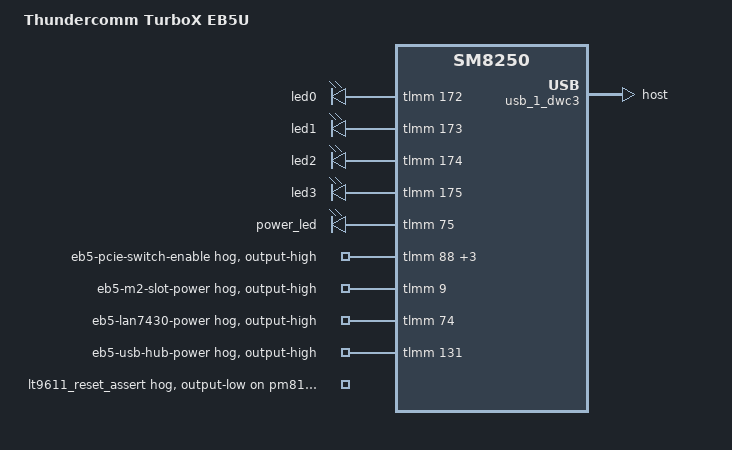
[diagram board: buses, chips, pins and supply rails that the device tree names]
// SPDX-License-Identifier: BSD-3-Clause
/*
 * Thundercomm TurboX EB5U (QRB5165 / SM8250)
 *
 * 基于主线 qrb5165-rb5.dts，叠加 EB5 板级差异。
 * EB5 与 RB5 共用同一份 msm-id/board-id，SoC 侧完全兼容；
 * 差异集中在若干块载板外设的使能脚上——厂商 4.19 由闭源驱动驱动为高，
 * 主线无对应代码，故用 gpio-hog 复刻。
 */

#include "qrb5165-rb5.dts"

/ {
	model = "Thundercomm TurboX EB5U";
	compatible = "thundercomm,eb5u", "qcom,qrb5165-rb5", "qcom,sm8250";
};

/*
 * RB5 上 i2c4 是扩展排针 LS-I2C0（无板载设备）；
 * EB5 把 GPIO8/9 改作板级控制脚，其中 GPIO9 是 M.2 槽供电使能。
 */
&i2c4 {
	status = "disabled";
};

&tlmm {
	/*
	 * PCIe RC2 + 板载 ASMedia ASM2806 交换机使能。
	 * 88/89 紧邻 PCIe2 的 perst/clkreq/wake(85/86/87)。
	 * 不拉高则 RC2 链路训练失败，交换机不枚举。
	 */
	eb5_pcie_switch_hog {
		gpio-hog;
		gpios = <88  GPIO_ACTIVE_HIGH>,
			<89  GPIO_ACTIVE_HIGH>,
			<126 GPIO_ACTIVE_HIGH>,
			<130 GPIO_ACTIVE_HIGH>;
		output-high;
		line-name = "eb5-pcie-switch-enable";
	};

	/*
	 * ASM2806 下游端点供电。缺失时下游端口 SltSta.PresDet=0、
	 * LnkSta.DLActive=0（端点电气不在位），三块网卡均无法枚举。
	 * 实测：GPIO9  -> 下游端口 02:00.0（M.2 槽，RTL8126）
	 *       GPIO74 -> 下游端口 02:06.0 与 02:0e.0（两颗 LAN7430）
	 */
	eb5_m2_slot_power_hog {
		gpio-hog;
		gpios = <9 GPIO_ACTIVE_HIGH>;
		output-high;
		line-name = "eb5-m2-slot-power";
	};

	eb5_lan7430_power_hog {
		gpio-hog;
		gpios = <74 GPIO_ACTIVE_HIGH>;
		output-high;
		line-name = "eb5-lan7430-power";
	};

	/* USB Hub 供电（厂商 4.19 亦未拉高，主线修复后 Hub 可用） */
	eb5_usb_hub_power_hog {
		gpio-hog;
		gpios = <131 GPIO_ACTIVE_HIGH>;
		output-high;
		line-name = "eb5-usb-hub-power";
	};
};

/*
 * 主线 sm8250.dtsi 只为 pcie2 映射了 RID 0x000/0x100（RC 与直连端点两条）。
 * EB5 在 RC2 上挂了 ASM2806 交换机，交换机下游端口与三块网卡的 RID
 * 全部落在映射之外，DMA 会被 apps_smmu 拦下：
 *   arm-smmu 15000000.iommu: Unhandled context fault: fsr=0x402 ... SID=0x1d00
 * 表现为网卡能 link up 但收发不通（NETDEV WATCHDOG transmit timed out）。
 * 按厂商 4.19 设备树补全全部 9 条映射。
 */
&pcie2 {
	iommu-map = <0x000 &apps_smmu 0x1d00 0x1>,	/* 0002:00:00.0 根端口     */
		    <0x100 &apps_smmu 0x1d01 0x1>,	/* 0002:01:00.0 交换机上游 */
		    <0x200 &apps_smmu 0x1d02 0x1>,	/* 0002:02:00.0 下游端口   */
		    <0x230 &apps_smmu 0x1d03 0x1>,	/* 0002:02:06.0 下游端口   */
		    <0x270 &apps_smmu 0x1d04 0x1>,	/* 0002:02:0e.0 下游端口   */
		    <0x300 &apps_smmu 0x1d05 0x1>,	/* 0002:03:00.0 RTL8126    */
		    <0x400 &apps_smmu 0x1d06 0x1>,	/* 0002:04:00.0 LAN7430    */
		    <0x500 &apps_smmu 0x1d07 0x1>,	/* 0002:05:00.0 LAN7430    */
		    <0x600 &apps_smmu 0x1d08 0x1>;
};

/*
 * EB5 载板 LED。
 *
 * 主线 qrb5165-rb5.dts 里的 LED 定义在 EB5 上全部是空的（实测无对应实体灯）：
 *   - 根节点 `leds`（gpio-leds，挂 pm8150 PMIC GPIO 7/9/10）
 *     → green:user4 / yellow:wlan / blue:bt
 *   - `&pm8150l_lpg`（PMIC 的 PWM 调光控制器）
 *     → green:heartbeat-3 / green:indicator-1 / green:indicator-2
 * 这些是 RB5 开发板特有的，EB5 载板没有引出，一并删掉避免误导。
 *
 * EB5 真正的五颗灯接在 TLMM 上，主线完全没有定义，
 * 导致 /sys/class/leds/led{0..3} 不存在。
 * 厂商 4.19 设备树对应节点：/soc/leds（compatible = "gpio-leds"）
 *   led0 = tlmm 172   led1 = tlmm 173   led2 = tlmm 174   led3 = tlmm 175
 *   power_led = tlmm 75, default-state = "on"
 * 保留厂商的 label 命名，使既有的
 * /opt/max_performance.sh（echo timer > /sys/class/leds/led1/trigger）
 * 无需修改即可继续工作。
 *
 * 注：/sys/class/leds/mmc0:: 不是设备树来的，是 sdhci 驱动为 SD 控制器
 * 自动注册的活动指示灯，要去掉只能停用整个 &sdhc_2（会失去 SD 卡功能），
 * 这里保留。
 */

/* 删除 RB5 继承来的 gpio-leds（三颗都无实体） */
/ {
	/delete-node/ leds;
};

/* 停用 PMIC LPG——RB5 用它驱动三颗指示灯，EB5 没引出，且无其它 PWM 消费者 */
&pm8150l_lpg {
	status = "disabled";
};

/ {
	eb5_leds: leds-eb5 {
		compatible = "gpio-leds";

		led-0 {
			label = "led0";
			gpios = <&tlmm 172 GPIO_ACTIVE_HIGH>;
			default-state = "off";
		};

		led-1 {
			label = "led1";
			gpios = <&tlmm 173 GPIO_ACTIVE_HIGH>;
			default-state = "off";
		};

		led-2 {
			label = "led2";
			gpios = <&tlmm 174 GPIO_ACTIVE_HIGH>;
			default-state = "off";
		};

		led-3 {
			label = "led3";
			gpios = <&tlmm 175 GPIO_ACTIVE_HIGH>;
			default-state = "off";
		};

		led-power {
			label = "power_led";
			gpios = <&tlmm 75 GPIO_ACTIVE_HIGH>;
			default-state = "on";
		};
	};
};

/*
 * USB0（usb_1 / a600000）改为主机模式。
 *
 * 主线 qrb5165-rb5.dts 把 USB0 配成 `dr_mode = "otg"` + `usb-role-switch`，
 * 因为 RB5 上它是 Type-C 口，靠 PMIC 的 Type-C 控制器协商主/从角色。
 * EB5 上这一路不是 Type-C，而是**硬接了一颗 TI TUSB8044A 4 口 USB Hub**，
 * 没有任何角色协商信号源，于是 role 永远停在未定态：
 *   - dwc3 不会实例化 xhci 子设备（/sys/.../a600000.usb 下只有 usb_role）
 *   - /sys/class/usb_role/a600000.usb-role-switch/role 只读且为空
 *   - Hub 虽有 VBUS（gpio131 已拉高，插 U 盘会发热）但主机侧根本没枚举
 * 厂商 4.19 的设备树是 `dr_mode = "drd"`，同样依赖协商，
 * 所以**原厂系统里这个 Hub 也一直不工作**。
 *
 * 固定成 host 即可让 dwc3 直接进主机模式并创建 xhci。
 */
&usb_1_dwc3 {
	dr_mode = "host";
	/delete-property/ usb-role-switch;
};

/*
 * LT9611UXC（DSI → HDMI 桥）整条链路关闭。
 *
 * EB5 是没有显示输出的边缘盒子，RB5 继承来的这颗桥片派不上用场。
 * 生产内核（6.18.40）直接关掉了 DRM_MSM，所以从来没碰过它；
 * 而 Armbian 的 sm8250 配置里 DRM_MSM/DRM_MSM_DSI 都是 =y，
 * 不处理的话 DSI0 会去驱动这颗桥，白白把显示链路拉起来。
 *
 * ⚠️ 删除顺序有讲究：必须先摘掉外部对 lt9611 各 label 的引用，再删节点本身，
 * 否则 DTC 解析 phandle 时会因为找不到目标而编译失败。
 * RB5 里一共有五处引用：vdd-supply / vcc-supply（节点内部，随节点一起消失）、
 * mdss_dsi0_out 的 remote-endpoint、sound 的 hdmi-dai-link，
 * 以及 hdmi-out 连接器节点里指向 lt9611_out 的 endpoint。
 */

/* 1) DSI0 输出端点，原本指向 &lt9611_a */
&mdss_dsi0_out {
	/delete-property/ remote-endpoint;
};

/* 2) HDMI 音频 dai-link，原本引用 <&lt9611_codec 0> */
&sound {
	/delete-node/ hdmi-dai-link;
};

/* 3) 桥本身。RB5 的 i2c5 上只挂了这一个设备，总线一并停掉 */
&i2c5 {
	status = "disabled";
	/delete-node/ hdmi-bridge@2b;
};

/* 4) DSI0 已经没有接收端，停掉控制器和 PHY，免得 DRM 反复 EPROBE_DEFER */
&mdss_dsi0 {
	status = "disabled";
};

&mdss_dsi0_phy {
	status = "disabled";
};

/*
 * 5) 两路专供 LT9611 的稳压器。
 *
 * 注意它们是 regulator-fixed 且没有 gpio 属性 —— 也就是说板级供电是硬连到
 * vdc_3v3 上的，设备树里没有任何手段真正切断这两路电。删除节点的实际作用是
 * 解除内核侧的引用，尤其是撤掉 LT9611_3V3 上的 regulator-always-on/boot-on
 * （否则 regulator 框架开机就会把这个虚拟稳压器置成 enabled 并一直保持）。
 */
/ {
	/* hdmi-connector：它的 endpoint 指向 lt9611 的 port@2 (&lt9611_out)，
	   桥都没了，这个连接器自然也留不得 */
	/delete-node/ hdmi-out;

	/delete-node/ lt9611-vdd12-regulator;
	/delete-node/ lt9611-3v3;
};

/*
 * 6) 真正能关掉的"使能"是复位脚。
 *
 * RB5 用 pm8150l_gpios 5 作 LT9611 的 RESETN（reset-gpios 声明为
 * GPIO_ACTIVE_HIGH，驱动要置 1 才算释放复位）。实测 EB5 上这个脚被引导加载器
 * 置成 out-high —— pm8150l 的 12 个 GPIO 里只有 gpio2 和 gpio5 是输出 ——
 * 也就是说桥片一直处在"已释放复位"的运行态。
 *
 * 这里用 gpio-hog 把它固定拉低，让桥片保持复位、不再工作，
 * 顺便也把这个脚占住，避免被别的驱动误申请。
 */
&pm8150l_gpios {
	eb5_lt9611_reset_hog {
		gpio-hog;
		gpios = <5 GPIO_ACTIVE_HIGH>;
		output-low;
		line-name = "lt9611_reset_assert";
	};
};
